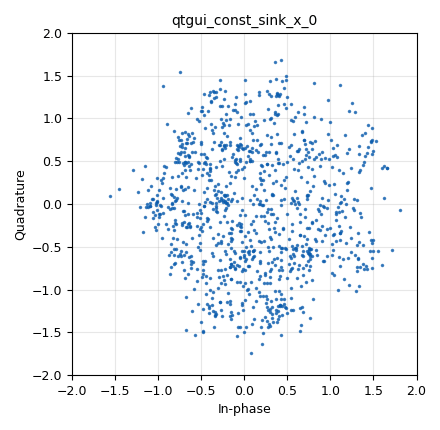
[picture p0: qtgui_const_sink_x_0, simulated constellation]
options:
  parameters:
    author: pranav
    category: Custom
    description: 16-HexQAM simulation using native GRC blocks with custom constellation
    generate_options: qt_gui
    id: tx_hardware_ber_awgn
    output_language: python
    title: 16-HexQAM BER Hardware Transmitter with AWGN
  states: {}

blocks:
- name: Alpha
  id: variable
  parameters:
    value: '0.22'
  states: {}
- name: center_freq
  id: variable
  parameters:
    value: '2850000000'
  states: {}
- name: hqam_const
  id: variable_constellation
  parameters:
    comment: '16-HexQAM: 16 custom hexagonal IQ points, Es~1'
    const_points: '[-0.3333+1.1547j, 0.3333+1.1547j, -0.6667+0.5774j, 0.0000+0.5774j, 0.6667+0.5774j, 1.3333+0.5774j, -0.3333+1e-10j, 0.3333+1e-10j, 1.0000+1e-10j, -0.6667-0.5774j, 0.0000-0.5774j, 0.6667-0.5774j, 1.3333-0.5774j, -0.3333-1.1547j, 0.3333-1.1547j, -1.0000+1e-09j]'
    dims: '1'
    normalization: digital.constellation.NO_NORMALIZATION
    precision: '8'
    rot_sym: '1'
    sym_map: '[7, 6, 5, 2, 0, 4, 3, 10, 8, 9, 11, 14, 12, 13, 15, 1]'
    type: calcdist
  states: {}
- name: noise_volt
  id: variable_qtgui_range
  parameters:
    label: Noise Voltage
    start: '0'
    step: '0.005'
    stop: '1'
    value: '0'
  states: {}
- name: samp_rate
  id: variable
  parameters:
    value: '1000000'
  states: {}
- name: sps
  id: variable
  parameters:
    value: '4'
  states: {}
- name: tx_gain
  id: variable
  parameters:
    value: '38'
  states: {}
- name: analog_noise_source_x_0
  id: analog_noise_source_x
  parameters:
    amp: noise_volt
    noise_type: analog.GR_GAUSSIAN
    seed: '0'
    type: complex
  states: {}
- name: analog_random_source_x_0
  id: analog_random_source_x
  parameters:
    max: '255'
    min: '0'
    num_samps: '10000'
    repeat: 'True'
    type: byte
  states: {}
- name: blocks_add_xx_0
  id: blocks_add_xx
  parameters:
    type: complex
  states: {}
- name: digital_constellation_modulator_0
  id: digital_constellation_modulator
  parameters:
    comment: Maps bytes through hqam_const, applies RRC shaping at sps=4
    constellation: hqam_const
    differential: 'False'
    excess_bw: Alpha
    samples_per_symbol: sps
  states: {}
- name: epy_block_0
  id: epy_block
  parameters:
    _source_code: |
      import numpy as np
      from gnuradio import gr

      class blk(gr.basic_block):
          """BER Frame Generator & Preamble Inserter"""
          def __init__(self, packet_len=1000):
              gr.basic_block.__init__(
                  self,
                  name='BER Frame Generator',
                  in_sig=[np.uint8],
                  out_sig=[np.uint8]
              )
              self.packet_len = packet_len
              self.preamble = np.array([8, 8, 8, 15, 15, 15, 8, 15, 15, 8, 15], dtype=np.uint8)
              np.random.seed(42)
              self.payload_ref = np.random.randint(0, 16, size=989, dtype=np.uint8)
              
              # Inverse Gray map to map symbol values to constellation indices
              self.inv_map = np.array([4, 15, 3, 6, 5, 2, 1, 0, 8, 9, 7, 10, 12, 13, 11, 14], dtype=np.uint8)
              
              # Map preamble and payload to the corresponding constellation indices
              self.preamble_tx = self.inv_map[self.preamble]
              self.payload_tx = self.inv_map[self.payload_ref]
              
              self.packet = np.concatenate([self.preamble_tx, self.payload_tx])
              
              # Pack 4-bit symbols into 8-bit bytes
              self.packed_packet = np.zeros(len(self.packet) // 2, dtype=np.uint8)
              for i in range(len(self.packed_packet)):
                  self.packed_packet[i] = (self.packet[2*i] << 4) | self.packet[2*i+1]
                  
              self.ptr = 0

          def general_work(self, input_items, output_items):
              in0 = input_items[0]
              out = output_items[0]
              n_out = len(out)
              written = 0
              read = min(len(in0), n_out)
              
              while written < read:
                  rem = len(self.packed_packet) - self.ptr
                  to_write = min(rem, read - written)
                  out[written:written+to_write] = self.packed_packet[self.ptr:self.ptr+to_write]
                  self.ptr = (self.ptr + to_write) % len(self.packed_packet)
                  written += to_write
                  
              self.consume(0, read)
              return written
    packet_len: '1000'
  states: {}
- name: qtgui_const_sink_x_0
  id: qtgui_const_sink_x
  parameters:
    size: '1024'
    type: complex
  states: {}
- name: uhd_usrp_sink_0
  id: uhd_usrp_sink
  parameters:
    ant0: '"TX/RX"'
    center_freq0: center_freq
    gain0: tx_gain
    samp_rate: samp_rate
    sync: pc_clock
    type: fc32
  states: {}

connections:
- [analog_noise_source_x_0, '0', blocks_add_xx_0, '1']
- [analog_random_source_x_0, '0', epy_block_0, '0']
- [blocks_add_xx_0, '0', qtgui_const_sink_x_0, '0']
- [blocks_add_xx_0, '0', uhd_usrp_sink_0, '0']
- [digital_constellation_modulator_0, '0', blocks_add_xx_0, '0']
- [epy_block_0, '0', digital_constellation_modulator_0, '0']

metadata:
  file_format: 1
  grc_version: 3.10.12.0
